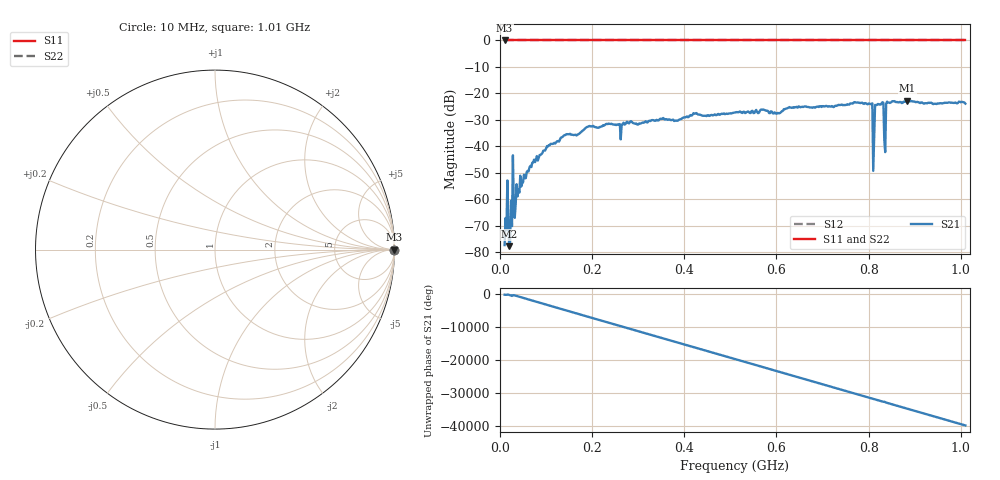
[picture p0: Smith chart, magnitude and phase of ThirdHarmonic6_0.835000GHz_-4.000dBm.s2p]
! 8/16/2025 3:41:42 AM
! C:\ANRITSUVNA\TEMP\TEMP.S2P
! CHANNEL.1
! TR.MEASUREMENT
! RAW.DATA
! RF.CORRECTION.OFF
! AVERAGING.OFF
! IF.BANDWIDTH: 5KHZ
! SWEEPTYPE:  FREQ.SWEEP(Linear)
! Reference Plane Port Info
! PORT:  PORT1  PORT2
! DISTANCE:  0  m  0  m
! TIME:  0  s  0  s
! PHASE.OFFSET:  0  deg.  0  deg.
! LOSS:  0  dB  0  dB
! REF.LOSS:  0  dB  0  dB
! REF.FREQ:  0  Hz  0  Hz
! Power Info
! POWER:  -20  dBm  -20  dBm
! EFF.POWER:  -20  dBm  -20  dBm
! SOURCE.ATTEN:  0  dB  0  dB
! TEST.ATTEN:  0  dB  0  dB
# GHZ S RI R 50.0
! FREQ.GHZ  S11RE  S11IM  S21RE  S21IM  S12RE  S12IM  S22RE  S22IM
!; PortSelection: Port_12
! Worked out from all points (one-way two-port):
!   501 points, 10 MHz to 1.01 GHz, reference 50 ohm
!   highest |S21| = -22.78 dB at 884 MHz (marker M1); lowest = -77.6 dB at 20 MHz (marker M2)
!   lowest |S11| = 0.0 dB at 10 MHz (marker M3)
!   |S11| at or under -10 dB: nowhere
!   |S22| runs from 0.0 to 0.0 dB; largest |S21 - S12| = 1.1
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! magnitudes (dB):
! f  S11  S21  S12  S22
! 10 MHz  0.0  -77.2  0.0  0.0
! 14 MHz  0.0  -71.5  0.0  0.0
! 20 MHz  0.0  -77.6  0.0  0.0
! 22 MHz  0.0  -75.7  0.0  0.0
! 32 MHz  0.0  -66.9  0.0  0.0
! 34 MHz  0.0  -61.9  0.0  0.0
! 40 MHz  0.0  -56.3  0.0  0.0
! 76 MHz  0.0  -45.9  0.0  0.0
! 178 MHz  0.0  -34.3  0.0  0.0
! 344 MHz  0.0  -30.2  0.0  0.0
! 510 MHz  0.0  -27.2  0.0  0.0
! 678 MHz  0.0  -25.4  0.0  0.0
! 804 MHz  0.0  -24.0  0.0  0.0
! 808 MHz  0.0  -23.7  0.0  0.0
! 814 MHz  0.0  -24.3  0.0  0.0
! 818 MHz  0.0  -24.3  0.0  0.0
! 828 MHz  0.0  -23.8  0.0  0.0
! 832 MHz  0.0  -23.5  0.0  0.0
! 838 MHz  0.0  -23.8  0.0  0.0
! 844 MHz  0.0  -23.5  0.0  0.0
! 884 MHz  0.0  -22.8  0.0  0.0
! 1.01 GHz  0.0  -23.8  0.0  0.0
